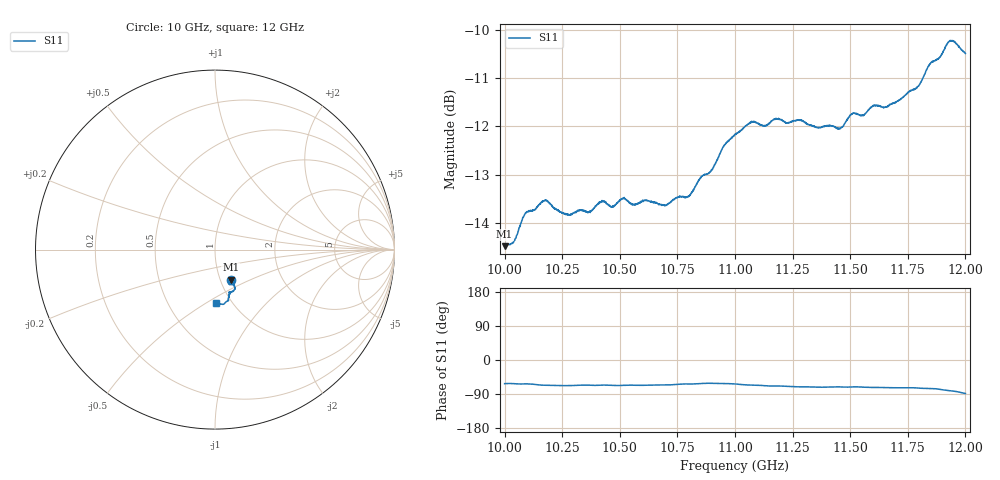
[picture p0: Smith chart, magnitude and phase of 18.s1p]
[Version] 2.0
! Rohde & Schwarz Vector Network Analyzer
! Rohde-Schwarz,ZNL20-2Port,1323001220200009,1.71.1.10-23.02.1.238
! Port Assignments:
! Nominal Port -> Actual Test Port
!  1 -> 1
! Created: GMT 2024-09-04 14:22:10
# Hz S DB R 50
[Number of Ports] 1
! freq[Hz]  S11[mag dB]  S11[ang]
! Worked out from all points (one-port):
!   2001 points, 10 GHz to 12 GHz, reference 50 ohm
!   lowest |S11| = -14.5 dB at 10 GHz (marker M1), VSWR 1.47, Z = 56 - j19.4 ohm
!   |S11| at or under -10 dB: start of sweep to end of sweep
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[Number of Frequencies] 28
[Network Data]
1e10  -14.48 -62.4
1.004e10  -14.39 -62.4
1.0092e10  -13.79 -63.0
1.0167e10  -13.54 -66.5
1.025e10  -13.78 -67.7
1.0365e10  -13.78 -66.4
1.0418e10  -13.56 -66.5
1.0468e10  -13.67 -66.9
1.05e10  -13.52 -67.2
1.0693e10  -13.63 -65.9
1.075e10  -13.48 -64.3
1.0805e10  -13.43 -63.3
1.0873e10  -13.00 -61.4
1.1e10  -12.16 -63.3
1.1074e10  -11.90 -66.2
1.125e10  -11.89 -70.4
1.137e10  -12.03 -71.8
1.1451e10  -12.04 -70.9
1.15e10  -11.76 -71.3
1.1557e10  -11.76 -71.7
1.1605e10  -11.56 -72.4
1.1658e10  -11.59 -73.0
1.175e10  -11.30 -73.3
1.1794e10  -11.17 -74.0
1.1843e10  -10.72 -75.1
1.1869e10  -10.63 -75.9
1.1937e10  -10.22 -81.1
1.2e10  -10.49 -88.4
[End]
